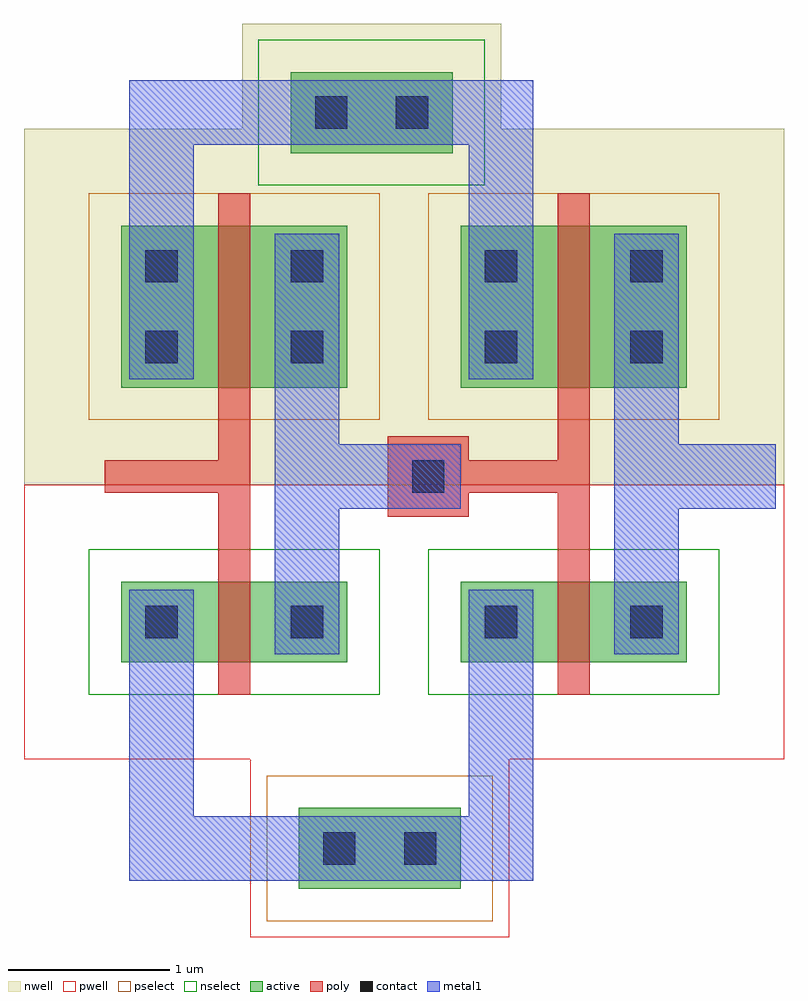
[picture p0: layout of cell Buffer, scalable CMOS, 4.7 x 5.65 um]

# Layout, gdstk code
import gdstk
lib = gdstk.Library(unit=1e-6, precision=1e-09)
def R(c, l, rs):  # rectangles x0, y0, x1, y1
    for r in rs: c.add(gdstk.rectangle(r[:2], r[2:], *l))
contact = (25, 0)
pwell = (41, 0)
nwell = (42, 0)
active = (43, 0)
pselect = (44, 0)
nselect = (45, 0)
poly = (46, 0)
metal1 = (49, 0)

inv = lib.new_cell('Inv')
R(inv, contact, [(-0.55,-1.05,-0.35,-0.85), (0.35,-1.05,0.55,-0.85), (-0.55,0.65,-0.35,0.85), (0.35,0.65,0.55,0.85), (-0.55,1.15,-0.35,1.35), (0.35,1.15,0.55,1.35)])
R(inv, pwell, [(-1.3,-1.8,0.4,-0.1), (-1,-1.8,1,-0.1), (-0.4,-1.8,1.3,-0.1), (-1.2,-1.75,0.375,-0.25), (-0.375,-1.7,1.2,-0.2)])
R(inv, nwell, [(-1.3,-0.1,0.4,2.1), (-1,-0.1,1,2.1), (-0.4,-0.1,1.3,2.1), (-1.25,0.2,0.375,1.7), (-0.375,0.25,1.2,1.75)])
R(inv, active, [(-0.7,-1.2,-0.2,-0.7), (-0.4,-1.2,0.4,-0.7), (0.2,-1.2,0.7,-0.7), (-0.6,-1.15,-0.225,-0.85), (0.225,-1.1,0.6,-0.8), (-0.7,0.5,-0.2,1.5), (-0.4,0.5,0.4,1.5), (0.2,0.5,0.7,1.5), (-0.65,0.8,-0.225,1.1), (0.225,0.85,0.6,1.15)])
R(inv, pselect, [(-0.9,0.3,0,1.7), (-0.6,0.3,0.6,1.7), (0,0.3,0.9,1.7), (-0.85,0.6,-0.025,1.3), (0.025,0.65,0.8,1.35)])
R(inv, nselect, [(-0.9,-1.4,0,-0.5), (-0.6,-1.4,0.6,-0.5), (0,-1.4,0.9,-0.5), (-0.8,-1.35,-0.025,-0.65), (0.025,-1.3,0.8,-0.6)])
R(inv, poly, [(-0.1,-1.4,0.1,-0.5), (-0.1,-0.6,0.1,0.05), (-0.5,-0.15,0.1,0.05), (-0.1,-0.15,0.1,0.4), (-0.1,0.3,0.1,1.7)])
R(inv, metal1, [(-0.65,-2,-0.25,-0.75), (-0.65,-1.15,-0.25,-0.75), (0.25,-1.15,0.65,-0.75), (0.25,-1.15,0.65,0.15), (0.25,-0.25,0.65,1.2), (0.25,-0.25,0.95,0.15), (-0.65,0.55,-0.25,1.45), (0.25,0.55,0.65,1.45), (-0.65,0.8,-0.25,2.2)])

buffer = lib.new_cell('Buffer')
R(buffer, contact, [(-0.75,-2.45,-0.55,-2.25), (-0.25,-2.45,-0.05,-2.25), (-0.2,-0.15,0,0.05), (-0.8,2.1,-0.6,2.3), (-0.3,2.1,-0.1,2.3)])
R(buffer, pwell, [(-1.2,-2.9,0.4,-1.8)])
R(buffer, nwell, [(-1.25,1.65,0.35,2.75)])
R(buffer, active, [(-0.9,-2.6,0.1,-2.1), (-0.95,1.95,0.05,2.45)])
R(buffer, pselect, [(-1.1,-2.8,0.3,-1.9)])
R(buffer, nselect, [(-1.15,1.75,0.25,2.65)])
R(buffer, poly, [(-0.35,-0.3,0.15,0.2), (-2.1,-0.15,-1.6,0.05), (-0.2,-0.15,0.5,0.05)])
R(buffer, metal1, [(-1.95,-2.55,-1.55,-1.6), (-1.95,-2.55,-0.2,-2.15), (-0.85,-2.55,0.05,-2.15), (-0.6,-2.55,0.55,-2.15), (0.15,-2.55,0.55,-1.6), (-0.75,-0.25,0.1,0.15), (-0.3,-0.25,0.1,0.15), (1.35,-0.25,2.05,0.15), (-1.95,1.8,-1.55,2.4), (0.15,1.8,0.55,2.4), (-1.95,2,-0.25,2.4), (-0.9,2,0,2.4), (-0.65,2,0.55,2.4)])
buffer.add(gdstk.Reference(inv, (-1.3,0)))
buffer.add(gdstk.Reference(inv, (0.8,0)))

lib.write_gds('Buffer.gds')
